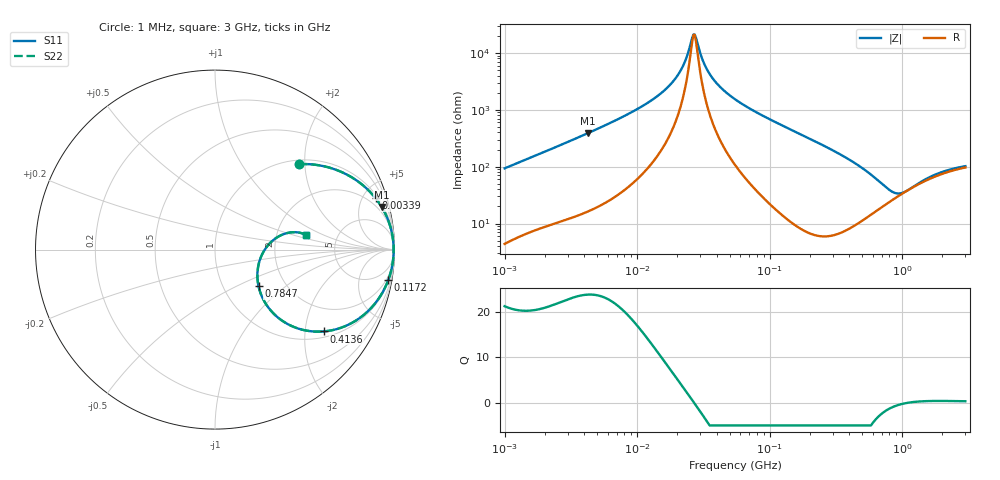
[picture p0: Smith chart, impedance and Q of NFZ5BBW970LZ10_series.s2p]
! NFZ5BBW970LZ10
# Hz S RI R 50
!Freq.(Hz) S11(Real) S11(Imag) S21(Real) S21(Imag) S12(Real) S12(Imag) S22(Real) S22(Imag)
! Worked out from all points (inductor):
!   401 points, 1 MHz to 3 GHz, reference 50 ohm
!   read as one part in series: L = 14.7 uH near 1.041 MHz
!   highest Q = 23.9 at 4.226 MHz (marker M1), where L = 14.5 uH
!   self-resonance near 26.65 MHz
!   S11 on the Smith chart (normalised r, x): 1 MHz: 1.09, +1.86; 3.39 MHz: 1.26, +6.15; 117.2 MHz: 1, -11; 413.6 MHz: 1.17, -2.52; 784.7 MHz: 1.46, -0.66; 3 GHz: 2.93, +0.66
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1000000  0.4671 0.476  0.5329 -0.476  0.5329 -0.476  0.4671 0.476
3390478  0.8946 0.2864  0.1054 -0.2864  0.1054 -0.2864  0.8946 0.2864
3823119  0.9144 0.2595  0.0856 -0.2595  0.0856 -0.2595  0.9144 0.2595
4225536  0.9283 0.2379  0.0717 -0.2379  0.0717 -0.2379  0.9283 0.2379
8861669  0.9815 0.1108  0.0185 -0.1108  0.0185 -0.1108  0.9815 0.1108
1.461624e7  0.992 0.0538  0.00796 -0.0538  0.00796 -0.0538  0.992 0.0538
2.054061e7  0.9947 0.0227  0.00528 -0.0227  0.00528 -0.0227  0.9947 0.0227
2.316168e7  0.9951 0.0125  0.00486 -0.0125  0.00486 -0.0125  0.9951 0.0125
2.611722e7  0.9953 0.00248  0.00466 -0.00248  0.00466 -0.00248  0.9953 0.00248
2.718395e7  0.9954 -0.000852  0.00464 0.000852  0.00464 0.000852  0.9954 -0.000852
3.127247e7  0.9952 -0.0126  0.00476 0.0126  0.00476 0.0126  0.9952 -0.0126
3.526298e7  0.9949 -0.0228  0.0051 0.0228  0.0051 0.0228  0.9949 -0.0228
5.477226e7  0.9913 -0.0643  0.00872 0.0643  0.00872 0.0643  0.9913 -0.0643
1.171891e8  0.9655 -0.1693  0.0345 0.1693  0.0345 0.1693  0.9655 -0.1693
2.094008e8  0.8918 -0.2999  0.1082 0.2999  0.1082 0.2999  0.8918 -0.2999
4.135554e8  0.6074 -0.4558  0.3926 0.4558  0.3926 0.4558  0.6074 -0.4558
5.583748e8  0.396 -0.4098  0.604 0.4098  0.604 0.4098  0.396 -0.4098
7.846996e8  0.2425 -0.2032  0.7575 0.2032  0.7575 0.2032  0.2425 -0.2032
8.005644e8  0.2398 -0.1889  0.7602 0.1889  0.7602 0.1889  0.2398 -0.1889
9.779672e8  0.2494 -0.0587  0.7506 0.0587  0.7506 0.0587  0.2494 -0.0587
1.374365e9  0.345 0.0676  0.655 -0.0676  0.655 -0.0676  0.345 0.0676
3e9  0.5054 0.0825  0.4946 -0.0825  0.4946 -0.0825  0.5054 0.0825
